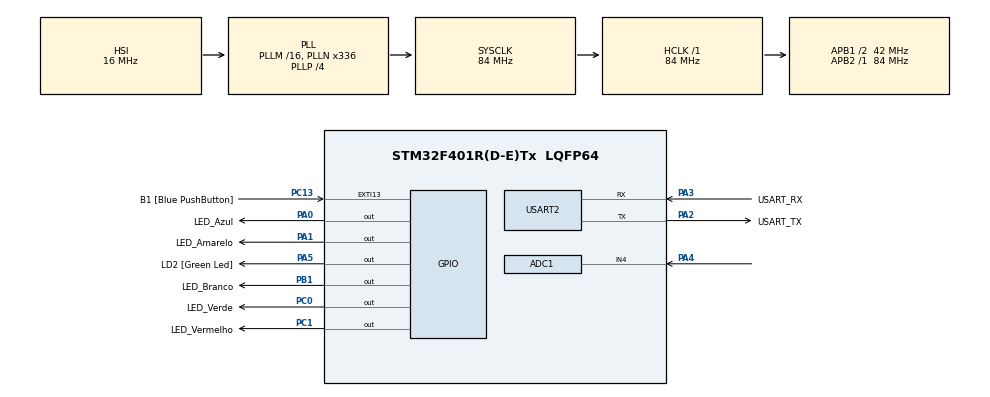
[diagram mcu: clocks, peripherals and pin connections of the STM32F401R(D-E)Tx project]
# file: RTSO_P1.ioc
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ADC1.Channel-0\#ChannelRegularConversion=ADC_CHANNEL_4
ADC1.ContinuousConvMode=ENABLE
ADC1.NbrOfConversionFlag=1
ADC1.Rank-0\#ChannelRegularConversion=1
ADC1.SamplingTime-0\#ChannelRegularConversion=ADC_SAMPLETIME_3CYCLES
ADC1.master=1
FREERTOS.Tasks01=RTOS_LedAzul,24,128,StartRTOS_LedAzul,Default,NULL,Dynamic,NULL,NULL;RTOS_LedVermelh,24,128,StartRTOS_LedVermelho,Default,NULL,Dynamic,NULL,NULL;RTOS_LedVerde,24,128,StartRTOS_LedVerde,Default,NULL,Dynamic,NULL,NULL;RTOS_LedAmarelo,24,128,StartRTOS_LedAmarelo,Default,NULL,Dynamic,NULL,NULL;RTOS_LedBranco,24,128,StartRTOS_LedBranco,Default,NULL,Dynamic,NULL,NULL;Task_POT,24,128,StartTaskPOT,Default,NULL,Dynamic,NULL,NULL
FREERTOS.configUSE_NEWLIB_REENTRANT=1
Mcu.Family=STM32F4
Mcu.Name=STM32F401R(D-E)Tx
Mcu.Package=LQFP64
NVIC.PriorityGroup=NVIC_PRIORITYGROUP_4
NVIC.TIM1_BRK_TIM9_IRQn=true\:15\:0\:false\:false\:true\:false\:false\:true\:true
NVIC.TimeBase=TIM1_BRK_TIM9_IRQn
NVIC.TimeBaseIP=TIM9
PA0-WKUP.GPIO_Label=LED_Azul
PA0-WKUP.Signal=GPIO_Output
PA1.GPIO_Label=LED_Amarelo
PA1.Signal=GPIO_Output
PA13.GPIO_Label=TMS
PA13.Mode=Trace_Asynchronous_SW
PA13.Signal=SYS_JTMS-SWDIO
PA14.GPIO_Label=TCK
PA14.Mode=Trace_Asynchronous_SW
PA14.Signal=SYS_JTCK-SWCLK
PA2.GPIO_Label=USART_TX
PA2.GPIO_Mode=GPIO_MODE_AF_PP
PA2.GPIO_PuPd=GPIO_NOPULL
PA2.GPIO_Speed=GPIO_SPEED_FREQ_LOW
PA2.Mode=Asynchronous
PA2.Signal=USART2_TX
PA3.GPIO_Label=USART_RX
PA3.GPIO_Mode=GPIO_MODE_AF_PP
PA3.GPIO_PuPd=GPIO_NOPULL
PA3.GPIO_Speed=GPIO_SPEED_FREQ_LOW
PA3.Mode=Asynchronous
PA3.Signal=USART2_RX
PA4.Signal=ADCx_IN4
PA5.GPIO_Label=LD2 [Green Led]
PA5.GPIO_Mode=GPIO_MODE_OUTPUT_PP
PA5.GPIO_PuPd=GPIO_NOPULL
PA5.GPIO_Speed=GPIO_SPEED_FREQ_LOW
PA5.Signal=GPIO_Output
PB1.GPIO_Label=LED_Branco
PB1.Signal=GPIO_Output
PB3.GPIO_Label=SWO
PB3.Mode=Trace_Asynchronous_SW
PB3.Signal=SYS_JTDO-SWO
PC0.GPIO_Label=LED_Verde
PC0.Signal=GPIO_Output
PC1.GPIO_Label=LED_Vermelho
PC1.Signal=GPIO_Output
PC13-ANTI_TAMP.GPIO_Label=B1 [Blue PushButton]
PC13-ANTI_TAMP.GPIO_ModeDefaultEXTI=GPIO_MODE_IT_FALLING
PC13-ANTI_TAMP.GPIO_PuPd=GPIO_NOPULL
PC13-ANTI_TAMP.Signal=GPXTI13
PC14-OSC32_IN.Mode=LSE-External-Oscillator
PC14-OSC32_IN.Signal=RCC_OSC32_IN
PC15-OSC32_OUT.Mode=LSE-External-Oscillator
PC15-OSC32_OUT.Signal=RCC_OSC32_OUT
PH0\ -\ OSC_IN.Mode=HSE-External-Clock-Source
PH0\ -\ OSC_IN.Signal=RCC_OSC_IN
PH1\ -\ OSC_OUT.Mode=HSE-External-Clock-Source
PH1\ -\ OSC_OUT.Signal=RCC_OSC_OUT
ProjectManager.HeapSize=0x200
ProjectManager.StackSize=0x400
ProjectManager.TargetToolchain=STM32CubeIDE
RCC.48MHZClocksFreq_Value=48000000
RCC.AHBFreq_Value=84000000
RCC.APB1CLKDivider=RCC_HCLK_DIV2
RCC.APB1Freq_Value=42000000
RCC.APB1TimFreq_Value=84000000
RCC.APB2Freq_Value=84000000
RCC.APB2TimFreq_Value=84000000
RCC.CortexFreq_Value=84000000
RCC.HCLKFreq_Value=84000000
RCC.HSE_VALUE=8000000
RCC.HSI_VALUE=16000000
RCC.PLLN=336
RCC.PLLP=RCC_PLLP_DIV4
RCC.PLLQ=7
RCC.SYSCLKFreq_VALUE=84000000
RCC.SYSCLKSource=RCC_SYSCLKSOURCE_PLLCLK
RCC.VCOOutputFreq_Value=336000000
SH.ADCx_IN4.0=ADC1_IN4,IN4
USART2.VirtualMode=VM_ASYNC
VP_FREERTOS_VS_CMSIS_V2.Mode=CMSIS_V2
VP_SYS_VS_tim9.Mode=TIM9
board=NUCLEO-F401RE

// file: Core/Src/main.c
/* USER CODE BEGIN Header */
/**
  ******************************************************************************
  * @file           : main.c
  * @brief          : Main program body
  ******************************************************************************
  * @attention
  *
  * Copyright (c) 2026 STMicroelectronics.
  * All rights reserved.
  *
  * This software is licensed under terms that can be found in the LICENSE file
  * in the root directory of this software component.
  * If no LICENSE file comes with this software, it is provided AS-IS.
  *
  ******************************************************************************
  */
/* USER CODE END Header */
#include "main.h"
#include "cmsis_os.h"

ADC_HandleTypeDef hadc1;

UART_HandleTypeDef huart2;

/* Definitions for RTOS_LedAzul */
osThreadId_t RTOS_LedAzulHandle;
const osThreadAttr_t RTOS_LedAzul_attributes = {
  .name = "RTOS_LedAzul",
  .stack_size = 128 * 4,
  .priority = (osPriority_t) osPriorityNormal,
};
/* Definitions for RTOS_LedVermelh */
osThreadId_t RTOS_LedVermelhHandle;
const osThreadAttr_t RTOS_LedVermelh_attributes = {
  .name = "RTOS_LedVermelh",
  .stack_size = 128 * 4,
  .priority = (osPriority_t) osPriorityNormal,
};
/* Definitions for RTOS_LedVerde */
osThreadId_t RTOS_LedVerdeHandle;
const osThreadAttr_t RTOS_LedVerde_attributes = {
  .name = "RTOS_LedVerde",
  .stack_size = 128 * 4,
  .priority = (osPriority_t) osPriorityNormal,
};
/* Definitions for RTOS_LedAmarelo */
osThreadId_t RTOS_LedAmareloHandle;
const osThreadAttr_t RTOS_LedAmarelo_attributes = {
  .name = "RTOS_LedAmarelo",
  .stack_size = 128 * 4,
  .priority = (osPriority_t) osPriorityNormal,
};
/* Definitions for RTOS_LedBranco */
osThreadId_t RTOS_LedBrancoHandle;
const osThreadAttr_t RTOS_LedBranco_attributes = {
  .name = "RTOS_LedBranco",
  .stack_size = 128 * 4,
  .priority = (osPriority_t) osPriorityNormal,
};
/* Definitions for Task_POT */
osThreadId_t Task_POTHandle;
const osThreadAttr_t Task_POT_attributes = {
  .name = "Task_POT",
  .stack_size = 128 * 4,
  .priority = (osPriority_t) osPriorityNormal,
};

void SystemClock_Config(void);
static void MX_GPIO_Init(void);
static void MX_USART2_UART_Init(void);
static void MX_ADC1_Init(void);
void StartRTOS_LedAzul(void *argument);
void StartRTOS_LedVermelho(void *argument);
void StartRTOS_LedVerde(void *argument);
void StartRTOS_LedAmarelo(void *argument);
void StartRTOS_LedBranco(void *argument);
void StartTaskPOT(void *argument);

/* USER CODE BEGIN 0 */
uint16_t readValue = 100;

/* USER CODE END 0 */

int main(void)
{

  /* MCU Configuration--------------------------------------------------------*/

  /* Reset of all peripherals, Initializes the Flash interface and the Systick. */
  HAL_Init();

  /* Configure the system clock */
  SystemClock_Config();

  /* Initialize all configured peripherals */
  MX_GPIO_Init();
  MX_USART2_UART_Init();
  MX_ADC1_Init();

  /* Init scheduler */
  osKernelInitialize();

  /* Create the thread(s) */
  /* creation of RTOS_LedAzul */
  RTOS_LedAzulHandle = osThreadNew(StartRTOS_LedAzul, NULL, &RTOS_LedAzul_attributes);

  /* creation of RTOS_LedVermelh */
  RTOS_LedVermelhHandle = osThreadNew(StartRTOS_LedVermelho, NULL, &RTOS_LedVermelh_attributes);

  /* creation of RTOS_LedVerde */
  RTOS_LedVerdeHandle = osThreadNew(StartRTOS_LedVerde, NULL, &RTOS_LedVerde_attributes);

  /* creation of RTOS_LedAmarelo */
  RTOS_LedAmareloHandle = osThreadNew(StartRTOS_LedAmarelo, NULL, &RTOS_LedAmarelo_attributes);

  /* creation of RTOS_LedBranco */
  RTOS_LedBrancoHandle = osThreadNew(StartRTOS_LedBranco, NULL, &RTOS_LedBranco_attributes);

  /* creation of Task_POT */
  Task_POTHandle = osThreadNew(StartTaskPOT, NULL, &Task_POT_attributes);

  /* Start scheduler */
  osKernelStart();

  /* We should never get here as control is now taken by the scheduler */

  /* Infinite loop */
  while (1)
  {

    /* USER CODE BEGIN 3 */

	  // No FreeRTOS o lupe pincipal while nunca ser executado
	  /*HAL_GPIO_TogglePin(GPIOC, LED_Vermelho_Pin);
	    HAL_Delay(500);
	   */
  }
  /* USER CODE END 3 */
}

void SystemClock_Config(void)
{
  RCC_OscInitTypeDef RCC_OscInitStruct = {0};
  RCC_ClkInitTypeDef RCC_ClkInitStruct = {0};

  /** Configure the main internal regulator output voltage
  */
  __HAL_RCC_PWR_CLK_ENABLE();
  __HAL_PWR_VOLTAGESCALING_CONFIG(PWR_REGULATOR_VOLTAGE_SCALE2);

  /** Initializes the RCC Oscillators according to the specified parameters
  * in the RCC_OscInitTypeDef structure.
  */
  RCC_OscInitStruct.OscillatorType = RCC_OSCILLATORTYPE_HSI;
  RCC_OscInitStruct.HSIState = RCC_HSI_ON;
  RCC_OscInitStruct.HSICalibrationValue = RCC_HSICALIBRATION_DEFAULT;
  RCC_OscInitStruct.PLL.PLLState = RCC_PLL_ON;
  RCC_OscInitStruct.PLL.PLLSource = RCC_PLLSOURCE_HSI;
  RCC_OscInitStruct.PLL.PLLM = 16;
  RCC_OscInitStruct.PLL.PLLN = 336;
  RCC_OscInitStruct.PLL.PLLP = RCC_PLLP_DIV4;
  RCC_OscInitStruct.PLL.PLLQ = 7;
  if (HAL_RCC_OscConfig(&RCC_OscInitStruct) != HAL_OK)
  {
    Error_Handler();
  }

  /** Initializes the CPU, AHB and APB buses clocks
  */
  RCC_ClkInitStruct.ClockType = RCC_CLOCKTYPE_HCLK|RCC_CLOCKTYPE_SYSCLK
                              |RCC_CLOCKTYPE_PCLK1|RCC_CLOCKTYPE_PCLK2;
  RCC_ClkInitStruct.SYSCLKSource = RCC_SYSCLKSOURCE_PLLCLK;
  RCC_ClkInitStruct.AHBCLKDivider = RCC_SYSCLK_DIV1;
  RCC_ClkInitStruct.APB1CLKDivider = RCC_HCLK_DIV2;
  RCC_ClkInitStruct.APB2CLKDivider = RCC_HCLK_DIV1;

  if (HAL_RCC_ClockConfig(&RCC_ClkInitStruct, FLASH_LATENCY_2) != HAL_OK)
  {
    Error_Handler();
  }
}

static void MX_ADC1_Init(void)
{

  ADC_ChannelConfTypeDef sConfig = {0};

  /** Configure the global features of the ADC (Clock, Resolution, Data Alignment and number of conversion)
  */
  hadc1.Instance = ADC1;
  hadc1.Init.ClockPrescaler = ADC_CLOCK_SYNC_PCLK_DIV4;
  hadc1.Init.Resolution = ADC_RESOLUTION_12B;
  hadc1.Init.ScanConvMode = DISABLE;
  hadc1.Init.ContinuousConvMode = ENABLE;
  hadc1.Init.DiscontinuousConvMode = DISABLE;
  hadc1.Init.ExternalTrigConvEdge = ADC_EXTERNALTRIGCONVEDGE_NONE;
  hadc1.Init.ExternalTrigConv = ADC_SOFTWARE_START;
  hadc1.Init.DataAlign = ADC_DATAALIGN_RIGHT;
  hadc1.Init.NbrOfConversion = 1;
  hadc1.Init.DMAContinuousRequests = DISABLE;
  hadc1.Init.EOCSelection = ADC_EOC_SINGLE_CONV;
  if (HAL_ADC_Init(&hadc1) != HAL_OK)
  {
    Error_Handler();
  }

  /** Configure for the selected ADC regular channel its corresponding rank in the sequencer and its sample time.
  */
  sConfig.Channel = ADC_CHANNEL_4;
  sConfig.Rank = 1;
  sConfig.SamplingTime = ADC_SAMPLETIME_3CYCLES;
  if (HAL_ADC_ConfigChannel(&hadc1, &sConfig) != HAL_OK)
  {
    Error_Handler();
  }

}

static void MX_USART2_UART_Init(void)
{

  huart2.Instance = USART2;
  huart2.Init.BaudRate = 115200;
  huart2.Init.WordLength = UART_WORDLENGTH_8B;
  huart2.Init.StopBits = UART_STOPBITS_1;
  huart2.Init.Parity = UART_PARITY_NONE;
  huart2.Init.Mode = UART_MODE_TX_RX;
  huart2.Init.HwFlowCtl = UART_HWCONTROL_NONE;
  huart2.Init.OverSampling = UART_OVERSAMPLING_16;
  if (HAL_UART_Init(&huart2) != HAL_OK)
  {
    Error_Handler();
  }

}

static void MX_GPIO_Init(void)
{
  GPIO_InitTypeDef GPIO_InitStruct = {0};

  /* GPIO Ports Clock Enable */
  __HAL_RCC_GPIOC_CLK_ENABLE();
  __HAL_RCC_GPIOH_CLK_ENABLE();
  __HAL_RCC_GPIOA_CLK_ENABLE();
  __HAL_RCC_GPIOB_CLK_ENABLE();

  /*Configure GPIO pin Output Level */
  HAL_GPIO_WritePin(GPIOC, LED_Verde_Pin|LED_Vermelho_Pin, GPIO_PIN_RESET);

  /*Configure GPIO pin Output Level */
  HAL_GPIO_WritePin(GPIOA, LED_Azul_Pin|LED_Amarelo_Pin|LD2_Pin, GPIO_PIN_RESET);

  /*Configure GPIO pin Output Level */
  HAL_GPIO_WritePin(LED_Branco_GPIO_Port, LED_Branco_Pin, GPIO_PIN_RESET);

  /*Configure GPIO pin : B1_Pin */
  GPIO_InitStruct.Pin = B1_Pin;
  GPIO_InitStruct.Mode = GPIO_MODE_IT_FALLING;
  GPIO_InitStruct.Pull = GPIO_NOPULL;
  HAL_GPIO_Init(B1_GPIO_Port, &GPIO_InitStruct);

  /*Configure GPIO pins : LED_Verde_Pin LED_Vermelho_Pin */
  GPIO_InitStruct.Pin = LED_Verde_Pin|LED_Vermelho_Pin;
  GPIO_InitStruct.Mode = GPIO_MODE_OUTPUT_PP;
  GPIO_InitStruct.Pull = GPIO_NOPULL;
  GPIO_InitStruct.Speed = GPIO_SPEED_FREQ_LOW;
  HAL_GPIO_Init(GPIOC, &GPIO_InitStruct);

  /*Configure GPIO pins : LED_Azul_Pin LED_Amarelo_Pin LD2_Pin */
  GPIO_InitStruct.Pin = LED_Azul_Pin|LED_Amarelo_Pin|LD2_Pin;
  GPIO_InitStruct.Mode = GPIO_MODE_OUTPUT_PP;
  GPIO_InitStruct.Pull = GPIO_NOPULL;
  GPIO_InitStruct.Speed = GPIO_SPEED_FREQ_LOW;
  HAL_GPIO_Init(GPIOA, &GPIO_InitStruct);

  /*Configure GPIO pin : LED_Branco_Pin */
  GPIO_InitStruct.Pin = LED_Branco_Pin;
  GPIO_InitStruct.Mode = GPIO_MODE_OUTPUT_PP;
  GPIO_InitStruct.Pull = GPIO_NOPULL;
  GPIO_InitStruct.Speed = GPIO_SPEED_FREQ_LOW;
  HAL_GPIO_Init(LED_Branco_GPIO_Port, &GPIO_InitStruct);

}

void StartRTOS_LedAzul(void *argument)
{
  /* USER CODE BEGIN 5 */
  /* Infinite loop */
  for(;;)
  {
	//Led da propria NUCLEO

	//Led azul padrão placa nucleo porta A LD2_Pin
	HAL_GPIO_TogglePin(GPIOA, LED_Azul_Pin);
	osDelay(readValue+20);

  }
  /* USER CODE END 5 */
}

void StartRTOS_LedVermelho(void *argument)
{
  /* USER CODE BEGIN StartRTOS_LedVermelho */
  /* Infinite loop */
  for(;;)
  {
		HAL_GPIO_TogglePin(GPIOC, LED_Vermelho_Pin);
			osDelay(readValue+40);
  }
  /* USER CODE END StartRTOS_LedVermelho */
}

void StartRTOS_LedVerde(void *argument)
{
  /* USER CODE BEGIN StartRTOS_LedVerde */
  /* Infinite loop */
  for(;;)
  {
	  HAL_GPIO_TogglePin(GPIOC, LED_Verde_Pin);
    osDelay(readValue+60);
  }
  /* USER CODE END StartRTOS_LedVerde */
}

void StartRTOS_LedAmarelo(void *argument)
{
  /* USER CODE BEGIN StartRTOS_LedAmarelo */
  /* Infinite loop */
  for(;;)
  {
	  HAL_GPIO_TogglePin(GPIOA, LED_Amarelo_Pin);
    osDelay(readValue+80);
  }
  /* USER CODE END StartRTOS_LedAmarelo */
}

void StartRTOS_LedBranco(void *argument)
{
  /* USER CODE BEGIN StartRTOS_LedBranco */
  /* Infinite loop */
  for(;;)
  {
	  HAL_GPIO_TogglePin(GPIOB, LED_Branco_Pin);
    osDelay(readValue+100);
  }
  /* USER CODE END StartRTOS_LedBranco */
}

void StartTaskPOT(void *argument)
{
  /* USER CODE BEGIN StartTaskPOT */
  /* Infinite loop */
  for(;;)
  {
	  //inicializa o ADC
		  HAL_ADC_Start(&hadc1);

		  //converter o ADC por 1000 não sei ainda o que faz
		  HAL_ADC_PollForConversion(&hadc1, 100);

		  //pega valor lido em ADC e joga na variavel readValue
		  readValue = HAL_ADC_GetValue(&hadc1);

		  //stopa para do ADC
		  HAL_ADC_Stop(&hadc1);

		  HAL_GPIO_TogglePin(GPIOA, LD2_Pin);

		  osDelay(readValue);

  }
  /* USER CODE END StartTaskPOT */
}

void HAL_TIM_PeriodElapsedCallback(TIM_HandleTypeDef *htim)
{
  if (htim->Instance == TIM9)
  {
    HAL_IncTick();
  }
}

void Error_Handler(void)
{
  __disable_irq();
  while (1)
  {
  }
}
